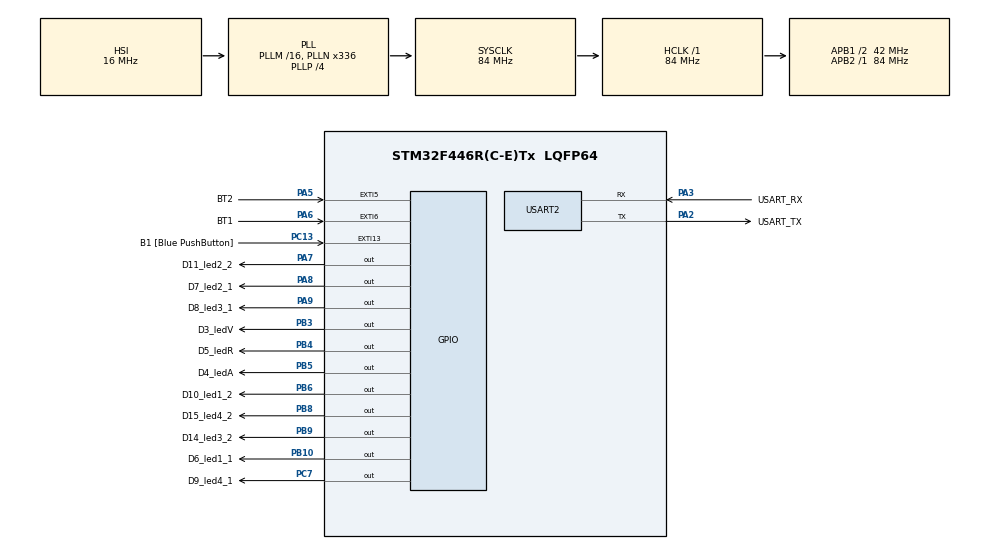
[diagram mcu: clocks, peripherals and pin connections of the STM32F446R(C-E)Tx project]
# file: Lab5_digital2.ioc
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Mcu.Family=STM32F4
Mcu.Name=STM32F446R(C-E)Tx
Mcu.Package=LQFP64
NVIC.EXTI15_10_IRQn=true\:0\:0\:false\:false\:true\:true\:true\:true
NVIC.EXTI9_5_IRQn=true\:0\:0\:false\:false\:true\:true\:true\:true
NVIC.PriorityGroup=NVIC_PRIORITYGROUP_0
NVIC.USART2_IRQn=true\:0\:0\:false\:false\:true\:true\:true\:true
PA13.GPIO_Label=TMS
PA13.Signal=SYS_JTMS-SWDIO
PA14.GPIO_Label=TCK
PA14.Signal=SYS_JTCK-SWCLK
PA2.GPIO_Label=USART_TX
PA2.Mode=Asynchronous
PA2.Signal=USART2_TX
PA3.GPIO_Label=USART_RX
PA3.Mode=Asynchronous
PA3.Signal=USART2_RX
PA5.GPIO_Label=BT2
PA5.GPIO_ModeDefaultEXTI=GPIO_MODE_IT_RISING
PA5.GPIO_PuPd=GPIO_PULLDOWN
PA5.Signal=GPXTI5
PA6.GPIO_Label=BT1
PA6.GPIO_ModeDefaultEXTI=GPIO_MODE_IT_RISING
PA6.GPIO_PuPd=GPIO_PULLDOWN
PA6.Signal=GPXTI6
PA7.GPIO_Label=D11_led2_2
PA7.GPIO_Speed=GPIO_SPEED_FREQ_LOW
PA7.Signal=GPIO_Output
PA8.GPIO_Label=D7_led2_1
PA8.Signal=GPIO_Output
PA9.GPIO_Label=D8_led3_1
PA9.Signal=GPIO_Output
PB10.GPIO_Label=D6_led1_1
PB10.Signal=GPIO_Output
PB3.GPIO_Label=D3_ledV
PB3.Signal=GPIO_Output
PB4.GPIO_Label=D5_ledR
PB4.Signal=GPIO_Output
PB5.GPIO_Label=D4_ledA
PB5.Signal=GPIO_Output
PB6.GPIO_Label=D10_led1_2
PB6.Signal=GPIO_Output
PB8.GPIO_Label=D15_led4_2
PB8.Signal=GPIO_Output
PB9.GPIO_Label=D14_led3_2
PB9.Signal=GPIO_Output
PC13.GPIO_Label=B1 [Blue PushButton]
PC13.GPIO_ModeDefaultEXTI=GPIO_MODE_IT_FALLING
PC13.Signal=GPXTI13
PC14-OSC32_IN.Signal=RCC_OSC32_IN
PC15-OSC32_OUT.Signal=RCC_OSC32_OUT
PC7.GPIO_Label=D9_led4_1
PC7.GPIO_Speed=GPIO_SPEED_FREQ_LOW
PC7.Signal=GPIO_Output
PH0-OSC_IN.Signal=RCC_OSC_IN
PH1-OSC_OUT.Signal=RCC_OSC_OUT
ProjectManager.HeapSize=0x200
ProjectManager.StackSize=0x400
ProjectManager.TargetToolchain=STM32CubeIDE
RCC.AHBFreq_Value=84000000
RCC.APB1CLKDivider=RCC_HCLK_DIV2
RCC.APB1Freq_Value=42000000
RCC.APB1TimFreq_Value=84000000
RCC.APB2Freq_Value=84000000
RCC.APB2TimFreq_Value=84000000
RCC.CortexFreq_Value=84000000
RCC.FLatency-AdvancedSettings=FLASH_LATENCY_2
RCC.HCLKFreq_Value=84000000
RCC.HSE_VALUE=8000000
RCC.HSI_VALUE=16000000
RCC.LSE_VALUE=32768
RCC.PLLN=336
RCC.PLLP=RCC_PLLP_DIV4
RCC.SYSCLKFreq_VALUE=84000000
RCC.SYSCLKSource=RCC_SYSCLKSOURCE_PLLCLK
RCC.USBFreq_Value=168000000
RCC.VCOOutputFreq_Value=336000000
USART2.VirtualMode=VM_ASYNC
board=NUCLEO-F446RE

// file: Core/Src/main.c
/* USER CODE BEGIN Header */
/**
  ******************************************************************************
  * @file           : main.c
  * @brief          : Main program body
  ******************************************************************************
  * @attention
  *
  * Copyright (c) 2026 STMicroelectronics.
  * All rights reserved.
  *
  * This software is licensed under terms that can be found in the LICENSE file
  * in the root directory of this software component.
  * If no LICENSE file comes with this software, it is provided AS-IS.
  *
  ******************************************************************************
  */
/* USER CODE END Header */
#include "main.h"

UART_HandleTypeDef huart2;

/* USER CODE BEGIN PV */
volatile uint8_t dato;
int IniciarCarrera=0;
int J1=0;
int J2=0;
int ContadorJugador1=0;
int ContadorJugador2=0;
uint8_t dec[5][4]={
  {0,0,0,0},
  {0,0,0,1},
  {0,0,1,0},
  {0,1,0,0},
  {1,0,0,0}
};
/* USER CODE END PV */

void SystemClock_Config(void);
static void MX_GPIO_Init(void);
static void MX_USART2_UART_Init(void);
/* USER CODE BEGIN PFP */
void J_1(int valor);
void J_2(int valor);
/* USER CODE END PFP */

int main(void)
{

  /* MCU Configuration--------------------------------------------------------*/

  /* Reset of all peripherals, Initializes the Flash interface and the Systick. */
  HAL_Init();

  /* Configure the system clock */
  SystemClock_Config();

  /* Initialize all configured peripherals */
  MX_GPIO_Init();
  MX_USART2_UART_Init();
  /* USER CODE BEGIN 2 */
  HAL_UART_Receive_IT(&huart2, (uint8_t*)&dato,1);

  /* USER CODE END 2 */

  /* Infinite loop */
  /* USER CODE BEGIN WHILE */
  while (1)
  {
	  if (IniciarCarrera==1){
		  HAL_GPIO_WritePin(D3_ledV_GPIO_Port, D3_ledV_Pin, 1);
		  HAL_GPIO_WritePin(D4_ledA_GPIO_Port, D4_ledA_Pin, 0);
		  HAL_GPIO_WritePin(D5_ledR_GPIO_Port, D5_ledR_Pin, 0);
		  HAL_Delay(1000);
		  HAL_GPIO_WritePin(D3_ledV_GPIO_Port, D3_ledV_Pin, 0);
		  HAL_GPIO_WritePin(D4_ledA_GPIO_Port, D4_ledA_Pin, 1);
		  HAL_GPIO_WritePin(D5_ledR_GPIO_Port, D5_ledR_Pin, 0);
		  HAL_Delay(1000);
		  HAL_GPIO_WritePin(D3_ledV_GPIO_Port, D3_ledV_Pin, 0);
		  HAL_GPIO_WritePin(D4_ledA_GPIO_Port, D4_ledA_Pin, 0);
		  HAL_GPIO_WritePin(D5_ledR_GPIO_Port, D5_ledR_Pin, 1);
		  HAL_Delay(1000);
		  HAL_GPIO_WritePin(D5_ledR_GPIO_Port, D5_ledR_Pin, 0);
		  J1=1;
		  J2=1;
		  IniciarCarrera=2;
	  }
	  J_1(ContadorJugador1);
	  J_2(ContadorJugador2);
    /* USER CODE END WHILE */

  }
}

void SystemClock_Config(void)
{
  RCC_OscInitTypeDef RCC_OscInitStruct = {0};
  RCC_ClkInitTypeDef RCC_ClkInitStruct = {0};

  /** Configure the main internal regulator output voltage
  */
  __HAL_RCC_PWR_CLK_ENABLE();
  __HAL_PWR_VOLTAGESCALING_CONFIG(PWR_REGULATOR_VOLTAGE_SCALE3);

  /** Initializes the RCC Oscillators according to the specified parameters
  * in the RCC_OscInitTypeDef structure.
  */
  RCC_OscInitStruct.OscillatorType = RCC_OSCILLATORTYPE_HSI;
  RCC_OscInitStruct.HSIState = RCC_HSI_ON;
  RCC_OscInitStruct.HSICalibrationValue = RCC_HSICALIBRATION_DEFAULT;
  RCC_OscInitStruct.PLL.PLLState = RCC_PLL_ON;
  RCC_OscInitStruct.PLL.PLLSource = RCC_PLLSOURCE_HSI;
  RCC_OscInitStruct.PLL.PLLM = 16;
  RCC_OscInitStruct.PLL.PLLN = 336;
  RCC_OscInitStruct.PLL.PLLP = RCC_PLLP_DIV4;
  RCC_OscInitStruct.PLL.PLLQ = 2;
  RCC_OscInitStruct.PLL.PLLR = 2;
  if (HAL_RCC_OscConfig(&RCC_OscInitStruct) != HAL_OK)
  {
    Error_Handler();
  }

  /** Initializes the CPU, AHB and APB buses clocks
  */
  RCC_ClkInitStruct.ClockType = RCC_CLOCKTYPE_HCLK|RCC_CLOCKTYPE_SYSCLK
                              |RCC_CLOCKTYPE_PCLK1|RCC_CLOCKTYPE_PCLK2;
  RCC_ClkInitStruct.SYSCLKSource = RCC_SYSCLKSOURCE_PLLCLK;
  RCC_ClkInitStruct.AHBCLKDivider = RCC_SYSCLK_DIV1;
  RCC_ClkInitStruct.APB1CLKDivider = RCC_HCLK_DIV2;
  RCC_ClkInitStruct.APB2CLKDivider = RCC_HCLK_DIV1;

  if (HAL_RCC_ClockConfig(&RCC_ClkInitStruct, FLASH_LATENCY_2) != HAL_OK)
  {
    Error_Handler();
  }
}

static void MX_USART2_UART_Init(void)
{

  huart2.Instance = USART2;
  huart2.Init.BaudRate = 115200;
  huart2.Init.WordLength = UART_WORDLENGTH_8B;
  huart2.Init.StopBits = UART_STOPBITS_1;
  huart2.Init.Parity = UART_PARITY_NONE;
  huart2.Init.Mode = UART_MODE_TX_RX;
  huart2.Init.HwFlowCtl = UART_HWCONTROL_NONE;
  huart2.Init.OverSampling = UART_OVERSAMPLING_16;
  if (HAL_UART_Init(&huart2) != HAL_OK)
  {
    Error_Handler();
  }

}

static void MX_GPIO_Init(void)
{
  GPIO_InitTypeDef GPIO_InitStruct = {0};

  /* GPIO Ports Clock Enable */
  __HAL_RCC_GPIOC_CLK_ENABLE();
  __HAL_RCC_GPIOH_CLK_ENABLE();
  __HAL_RCC_GPIOA_CLK_ENABLE();
  __HAL_RCC_GPIOB_CLK_ENABLE();

  /*Configure GPIO pin Output Level */
  HAL_GPIO_WritePin(GPIOA, D11_led2_2_Pin|D7_led2_1_Pin|D8_led3_1_Pin, GPIO_PIN_RESET);

  /*Configure GPIO pin Output Level */
  HAL_GPIO_WritePin(GPIOB, D6_led1_1_Pin|D3_ledV_Pin|D5_ledR_Pin|D4_ledA_Pin
                          |D10_led1_2_Pin|D15_led4_2_Pin|D14_led3_2_Pin, GPIO_PIN_RESET);

  /*Configure GPIO pin Output Level */
  HAL_GPIO_WritePin(D9_led4_1_GPIO_Port, D9_led4_1_Pin, GPIO_PIN_RESET);

  /*Configure GPIO pin : B1_Pin */
  GPIO_InitStruct.Pin = B1_Pin;
  GPIO_InitStruct.Mode = GPIO_MODE_IT_FALLING;
  GPIO_InitStruct.Pull = GPIO_NOPULL;
  HAL_GPIO_Init(B1_GPIO_Port, &GPIO_InitStruct);

  /*Configure GPIO pins : BT2_Pin BT1_Pin */
  GPIO_InitStruct.Pin = BT2_Pin|BT1_Pin;
  GPIO_InitStruct.Mode = GPIO_MODE_IT_RISING;
  GPIO_InitStruct.Pull = GPIO_PULLDOWN;
  HAL_GPIO_Init(GPIOA, &GPIO_InitStruct);

  /*Configure GPIO pins : D11_led2_2_Pin D7_led2_1_Pin D8_led3_1_Pin */
  GPIO_InitStruct.Pin = D11_led2_2_Pin|D7_led2_1_Pin|D8_led3_1_Pin;
  GPIO_InitStruct.Mode = GPIO_MODE_OUTPUT_PP;
  GPIO_InitStruct.Pull = GPIO_NOPULL;
  GPIO_InitStruct.Speed = GPIO_SPEED_FREQ_LOW;
  HAL_GPIO_Init(GPIOA, &GPIO_InitStruct);

  /*Configure GPIO pins : D6_led1_1_Pin D3_ledV_Pin D5_ledR_Pin D4_ledA_Pin
                           D10_led1_2_Pin D15_led4_2_Pin D14_led3_2_Pin */
  GPIO_InitStruct.Pin = D6_led1_1_Pin|D3_ledV_Pin|D5_ledR_Pin|D4_ledA_Pin
                          |D10_led1_2_Pin|D15_led4_2_Pin|D14_led3_2_Pin;
  GPIO_InitStruct.Mode = GPIO_MODE_OUTPUT_PP;
  GPIO_InitStruct.Pull = GPIO_NOPULL;
  GPIO_InitStruct.Speed = GPIO_SPEED_FREQ_LOW;
  HAL_GPIO_Init(GPIOB, &GPIO_InitStruct);

  /*Configure GPIO pin : D9_led4_1_Pin */
  GPIO_InitStruct.Pin = D9_led4_1_Pin;
  GPIO_InitStruct.Mode = GPIO_MODE_OUTPUT_PP;
  GPIO_InitStruct.Pull = GPIO_NOPULL;
  GPIO_InitStruct.Speed = GPIO_SPEED_FREQ_LOW;
  HAL_GPIO_Init(D9_led4_1_GPIO_Port, &GPIO_InitStruct);

  /* EXTI interrupt init*/
  HAL_NVIC_SetPriority(EXTI9_5_IRQn, 0, 0);
  HAL_NVIC_EnableIRQ(EXTI9_5_IRQn);

  HAL_NVIC_SetPriority(EXTI15_10_IRQn, 0, 0);
  HAL_NVIC_EnableIRQ(EXTI15_10_IRQn);

}

/* USER CODE BEGIN 4 */
void HAL_UART_RxCpltCallback(UART_HandleTypeDef *huart){
	if (huart->Instance==USART2 && IniciarCarrera==0){
		if (dato=='s' || dato=='S'){
			IniciarCarrera=1;

		}
		HAL_UART_Receive_IT(&huart2, (uint8_t*)&dato,1);
	}
}
void HAL_GPIO_EXTI_Callback(uint16_t  GPIO_Pin){
	if (GPIO_Pin==BT1_Pin && J1==1){
			ContadorJugador1++;
			if (ContadorJugador1==5){
				ContadorJugador1=0;
				ContadorJugador2=0;
				IniciarCarrera=0;
				J1=0;
				J2=0;
				uint8_t TEST[]="\n\ Ganador jugador 1\r\n";
				HAL_UART_Transmit(&huart2,TEST, sizeof(TEST),1000);
		}

	}
	if(GPIO_Pin==BT2_Pin && J2==1){
		ContadorJugador2++;
		if (ContadorJugador2==5){
			ContadorJugador1=0;
			ContadorJugador2=0;
			IniciarCarrera=0;
			J1=0;
			J2=0;
			uint8_t TEST[]="\n\Ganador jugador 2\r\n";
			HAL_UART_Transmit(&huart2,TEST, sizeof(TEST),1000);
		}

			}
	}

void J_1(int valor){
		HAL_GPIO_WritePin(D6_led1_1_GPIO_Port, D6_led1_1_Pin, dec[valor][0]);
		HAL_GPIO_WritePin(D7_led2_1_GPIO_Port, D7_led2_1_Pin, dec[valor][1]);
		HAL_GPIO_WritePin(D8_led3_1_GPIO_Port, D8_led3_1_Pin, dec[valor][2]);
		HAL_GPIO_WritePin(D9_led4_1_GPIO_Port, D9_led4_1_Pin, dec[valor][3]);
}
void J_2(int valor){
	HAL_GPIO_WritePin(D10_led1_2_GPIO_Port, D10_led1_2_Pin, dec[valor][0]);
	HAL_GPIO_WritePin(D11_led2_2_GPIO_Port, D11_led2_2_Pin, dec[valor][1]);
	HAL_GPIO_WritePin(D14_led3_2_GPIO_Port, D14_led3_2_Pin, dec[valor][2]);
	HAL_GPIO_WritePin(D15_led4_2_GPIO_Port, D15_led4_2_Pin, dec[valor][3]);
}
/* USER CODE END 4 */

void Error_Handler(void)
{
  __disable_irq();
  while (1)
  {
  }
}
